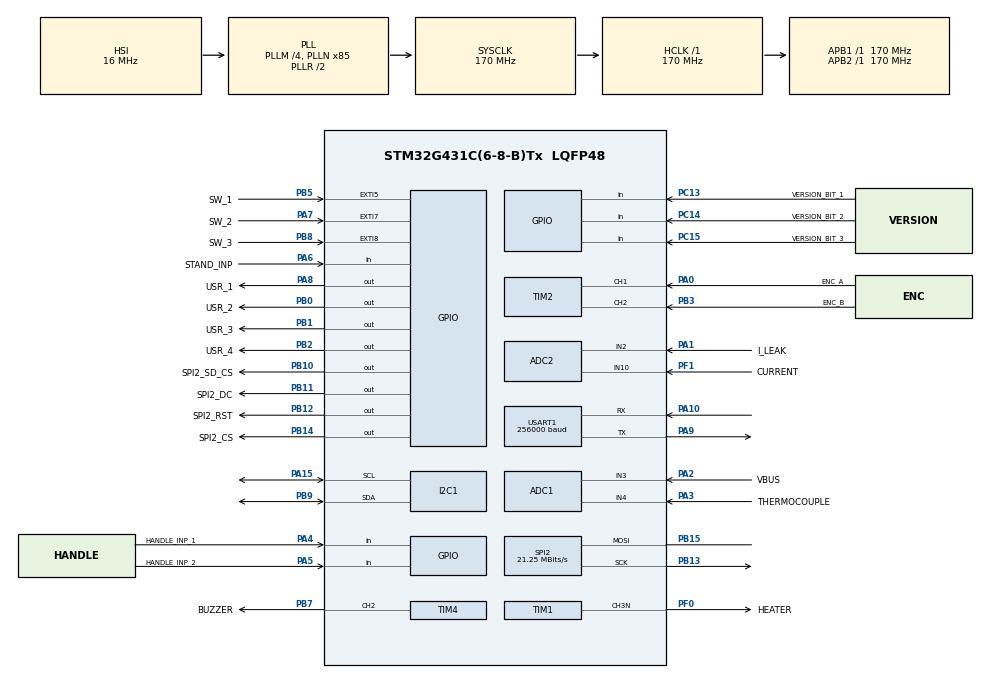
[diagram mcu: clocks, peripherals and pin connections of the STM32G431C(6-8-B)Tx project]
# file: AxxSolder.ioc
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ADC1.Channel-11\#ChannelRegularConversion=ADC_CHANNEL_3
ADC1.Channel-21\#ChannelRegularConversion=ADC_CHANNEL_4
ADC1.Channel-22\#ChannelRegularConversion=ADC_CHANNEL_TEMPSENSOR_ADC1
ADC1.ClockPrescaler=ADC_CLOCK_ASYNC_DIV4
ADC1.ContinuousConvMode=ENABLE
ADC1.DMAContinuousRequests=ENABLE
ADC1.DiscontinuousConvMode=DISABLE
ADC1.EnableAnalogWatchDog1=false
ADC1.EnableInjectedConversion=DISABLE
ADC1.EnableRegularConversion=ENABLE
ADC1.ExternalTrigConv=ADC_SOFTWARE_START
ADC1.ExternalTrigConvEdge=ADC_EXTERNALTRIGCONVEDGE_NONE
ADC1.NbrOfConversion=3
ADC1.NbrOfConversionFlag=1
ADC1.OffsetNumber-11\#ChannelRegularConversion=ADC_OFFSET_NONE
ADC1.OffsetNumber-21\#ChannelRegularConversion=ADC_OFFSET_NONE
ADC1.OffsetNumber-22\#ChannelRegularConversion=ADC_OFFSET_NONE
ADC1.Overrun=ADC_OVR_DATA_PRESERVED
ADC1.Rank-11\#ChannelRegularConversion=1
ADC1.Rank-21\#ChannelRegularConversion=2
ADC1.Rank-22\#ChannelRegularConversion=3
ADC1.SamplingTime-11\#ChannelRegularConversion=ADC_SAMPLETIME_247CYCLES_5
ADC1.SamplingTime-21\#ChannelRegularConversion=ADC_SAMPLETIME_247CYCLES_5
ADC1.SamplingTime-22\#ChannelRegularConversion=ADC_SAMPLETIME_247CYCLES_5
ADC1.master=1
ADC2.AWD1HighThreshold=2000
ADC2.AWD1ITMode=ENABLE
ADC2.Channel-4\#ChannelRegularConversion=ADC_CHANNEL_2
ADC2.Channel-5\#ChannelRegularConversion=ADC_CHANNEL_10
ADC2.ClockPrescaler=ADC_CLOCK_ASYNC_DIV4
ADC2.ContinuousConvMode=DISABLE
ADC2.DMAContinuousRequests=ENABLE
ADC2.EnableAnalogWatchDog1=true
ADC2.NbrOfConversion=2
ADC2.NbrOfConversionFlag=1
ADC2.OffsetNumber-4\#ChannelRegularConversion=ADC_OFFSET_NONE
ADC2.OffsetNumber-5\#ChannelRegularConversion=ADC_OFFSET_NONE
ADC2.Rank-4\#ChannelRegularConversion=1
ADC2.Rank-5\#ChannelRegularConversion=2
ADC2.SamplingTime-4\#ChannelRegularConversion=ADC_SAMPLETIME_2CYCLES_5
ADC2.SamplingTime-5\#ChannelRegularConversion=ADC_SAMPLETIME_2CYCLES_5
ADC2.WatchdogChannel=ADC_CHANNEL_2
Dma.ADC1.1.Direction=DMA_PERIPH_TO_MEMORY
Dma.ADC1.1.EventEnable=DISABLE
Dma.ADC1.1.Instance=DMA1_Channel3
Dma.ADC1.1.MemDataAlignment=DMA_MDATAALIGN_HALFWORD
Dma.ADC1.1.MemInc=DMA_MINC_ENABLE
Dma.ADC1.1.Mode=DMA_CIRCULAR
Dma.ADC1.1.PeriphDataAlignment=DMA_PDATAALIGN_HALFWORD
Dma.ADC1.1.PeriphInc=DMA_PINC_DISABLE
Dma.ADC1.1.Polarity=HAL_DMAMUX_REQ_GEN_RISING
Dma.ADC1.1.Priority=DMA_PRIORITY_LOW
Dma.ADC1.1.RequestNumber=1
Dma.ADC1.1.SignalID=NONE
Dma.ADC1.1.SyncEnable=DISABLE
Dma.ADC1.1.SyncPolarity=HAL_DMAMUX_SYNC_NO_EVENT
Dma.ADC1.1.SyncRequestNumber=1
Dma.ADC1.1.SyncSignalID=NONE
Dma.ADC2.3.Direction=DMA_PERIPH_TO_MEMORY
Dma.ADC2.3.EventEnable=DISABLE
Dma.ADC2.3.Instance=DMA1_Channel4
Dma.ADC2.3.MemDataAlignment=DMA_MDATAALIGN_HALFWORD
Dma.ADC2.3.MemInc=DMA_MINC_ENABLE
Dma.ADC2.3.Mode=DMA_NORMAL
Dma.ADC2.3.PeriphDataAlignment=DMA_PDATAALIGN_HALFWORD
Dma.ADC2.3.PeriphInc=DMA_PINC_DISABLE
Dma.ADC2.3.Polarity=HAL_DMAMUX_REQ_GEN_RISING
Dma.ADC2.3.Priority=DMA_PRIORITY_LOW
Dma.ADC2.3.RequestNumber=1
Dma.ADC2.3.SignalID=NONE
Dma.ADC2.3.SyncEnable=DISABLE
Dma.ADC2.3.SyncPolarity=HAL_DMAMUX_SYNC_NO_EVENT
Dma.ADC2.3.SyncRequestNumber=1
Dma.ADC2.3.SyncSignalID=NONE
Dma.Request0=SPI2_TX
Dma.Request1=ADC1
Dma.Request2=USART1_TX
Dma.Request3=ADC2
Dma.SPI2_TX.0.Direction=DMA_MEMORY_TO_PERIPH
Dma.SPI2_TX.0.EventEnable=DISABLE
Dma.SPI2_TX.0.Instance=DMA1_Channel1
Dma.SPI2_TX.0.MemDataAlignment=DMA_MDATAALIGN_BYTE
Dma.SPI2_TX.0.MemInc=DMA_MINC_ENABLE
Dma.SPI2_TX.0.Mode=DMA_NORMAL
Dma.SPI2_TX.0.PeriphDataAlignment=DMA_PDATAALIGN_BYTE
Dma.SPI2_TX.0.PeriphInc=DMA_PINC_DISABLE
Dma.SPI2_TX.0.Polarity=HAL_DMAMUX_REQ_GEN_RISING
Dma.SPI2_TX.0.Priority=DMA_PRIORITY_LOW
Dma.SPI2_TX.0.RequestNumber=1
Dma.SPI2_TX.0.SignalID=NONE
Dma.SPI2_TX.0.SyncEnable=DISABLE
Dma.SPI2_TX.0.SyncPolarity=HAL_DMAMUX_SYNC_NO_EVENT
Dma.SPI2_TX.0.SyncRequestNumber=1
Dma.SPI2_TX.0.SyncSignalID=NONE
Dma.USART1_TX.2.Direction=DMA_MEMORY_TO_PERIPH
Dma.USART1_TX.2.EventEnable=DISABLE
Dma.USART1_TX.2.Instance=DMA1_Channel2
Dma.USART1_TX.2.MemDataAlignment=DMA_MDATAALIGN_BYTE
Dma.USART1_TX.2.MemInc=DMA_MINC_ENABLE
Dma.USART1_TX.2.Mode=DMA_NORMAL
Dma.USART1_TX.2.PeriphDataAlignment=DMA_PDATAALIGN_BYTE
Dma.USART1_TX.2.PeriphInc=DMA_PINC_DISABLE
Dma.USART1_TX.2.Polarity=HAL_DMAMUX_REQ_GEN_RISING
Dma.USART1_TX.2.Priority=DMA_PRIORITY_LOW
Dma.USART1_TX.2.RequestNumber=1
Dma.USART1_TX.2.SignalID=NONE
Dma.USART1_TX.2.SyncEnable=DISABLE
Dma.USART1_TX.2.SyncPolarity=HAL_DMAMUX_SYNC_NO_EVENT
Dma.USART1_TX.2.SyncRequestNumber=1
Dma.USART1_TX.2.SyncSignalID=NONE
I2C1.Timing=0x1092646E
Mcu.Family=STM32G4
Mcu.Name=STM32G431C(6-8-B)Tx
Mcu.Package=LQFP48
NVIC.ADC1_2_IRQn=true\:10\:0\:true\:false\:true\:true\:true\:true
NVIC.DMA1_Channel1_IRQn=true\:0\:0\:true\:false\:true\:false\:true\:true
NVIC.DMA1_Channel2_IRQn=true\:0\:0\:false\:false\:true\:false\:true\:true
NVIC.DMA1_Channel3_IRQn=true\:0\:0\:false\:false\:true\:false\:true\:true
NVIC.DMA1_Channel4_IRQn=true\:0\:0\:false\:false\:true\:false\:true\:true
NVIC.EXTI9_5_IRQn=true\:0\:0\:false\:false\:true\:true\:true\:true
NVIC.PriorityGroup=NVIC_PRIORITYGROUP_4
NVIC.TIM1_BRK_TIM15_IRQn=true\:0\:0\:false\:false\:true\:true\:true\:true
NVIC.TIM1_CC_IRQn=true\:0\:0\:false\:false\:true\:true\:true\:true
NVIC.TIM1_TRG_COM_TIM17_IRQn=true\:0\:0\:false\:false\:true\:true\:true\:true
NVIC.TIM1_UP_TIM16_IRQn=true\:0\:0\:false\:false\:true\:true\:true\:true
NVIC.TIM6_DAC_IRQn=true\:0\:0\:false\:false\:true\:true\:true\:true
NVIC.TIM7_IRQn=true\:0\:0\:false\:false\:true\:true\:true\:true
NVIC.USART1_IRQn=true\:0\:0\:false\:false\:true\:true\:true\:true
PA0.GPIO_Label=ENC_A
PA0.Signal=S_TIM2_CH1
PA1.GPIO_Label=I_LEAK
PA1.Mode=IN2-Single-Ended
PA1.Signal=ADC2_IN2
PA10.Mode=Asynchronous
PA10.Signal=USART1_RX
PA13.Mode=Serial_Wire
PA13.Signal=SYS_JTMS-SWDIO
PA14.Mode=Serial_Wire
PA14.Signal=SYS_JTCK-SWCLK
PA15.Mode=I2C
PA15.Signal=I2C1_SCL
PA2.GPIO_Label=VBUS
PA2.Mode=IN3-Single-Ended
PA2.Signal=ADC1_IN3
PA3.GPIO_Label=THERMOCOUPLE
PA3.Mode=IN4-Single-Ended
PA3.Signal=ADC1_IN4
PA4.GPIO_Label=HANDLE_INP_1
PA4.Signal=GPIO_Input
PA5.GPIO_Label=HANDLE_INP_2
PA5.Signal=GPIO_Input
PA6.GPIO_Label=STAND_INP
PA6.Signal=GPIO_Input
PA7.GPIO_Label=SW_2
PA7.Signal=GPXTI7
PA8.GPIO_Label=USR_1
PA8.Signal=GPIO_Output
PA9.Mode=Asynchronous
PA9.Signal=USART1_TX
PB0.GPIO_Label=USR_2
PB0.Signal=GPIO_Output
PB1.GPIO_Label=USR_3
PB1.Signal=GPIO_Output
PB10.GPIO_Label=SPI2_SD_CS
PB10.Signal=GPIO_Output
PB11.GPIO_Label=SPI2_DC
PB11.Signal=GPIO_Output
PB12.GPIO_Label=SPI2_RST
PB12.Signal=GPIO_Output
PB13.Mode=Simplex_Bidirectional_Master
PB13.Signal=SPI2_SCK
PB14.GPIO_Label=SPI2_CS
PB14.Signal=GPIO_Output
PB15.Mode=Simplex_Bidirectional_Master
PB15.Signal=SPI2_MOSI
PB2.GPIO_Label=USR_4
PB2.Signal=GPIO_Output
PB3.GPIO_Label=ENC_B
PB3.Signal=S_TIM2_CH2
PB5.GPIO_Label=SW_1
PB5.Signal=GPXTI5
PB7.GPIO_Label=BUZZER
PB7.Signal=S_TIM4_CH2
PB8-BOOT0.GPIO_Label=SW_3
PB8-BOOT0.Signal=GPXTI8
PB9.Mode=I2C
PB9.Signal=I2C1_SDA
PC13.GPIO_Label=VERSION_BIT_1
PC13.Signal=GPIO_Input
PC14-OSC32_IN.GPIO_Label=VERSION_BIT_2
PC14-OSC32_IN.Signal=GPIO_Input
PC15-OSC32_OUT.GPIO_Label=VERSION_BIT_3
PC15-OSC32_OUT.Signal=GPIO_Input
PF0-OSC_IN.GPIO_Label=HEATER
PF0-OSC_IN.Mode=PWM Generation3 CH3N
PF0-OSC_IN.Signal=TIM1_CH3N
PF1-OSC_OUT.GPIO_Label=CURRENT
PF1-OSC_OUT.Mode=IN10-Single-Ended
PF1-OSC_OUT.Signal=ADC2_IN10
ProjectManager.HeapSize=0x200
ProjectManager.StackSize=0x400
ProjectManager.TargetToolchain=STM32CubeIDE
RCC.ADC12Freq_Value=170000000
RCC.AHBFreq_Value=170000000
RCC.APB1Freq_Value=170000000
RCC.APB1TimFreq_Value=170000000
RCC.APB2Freq_Value=170000000
RCC.APB2TimFreq_Value=170000000
RCC.CK48CLockSelection=RCC_USBCLKSOURCE_HSI48
RCC.CortexFreq_Value=170000000
RCC.EXTERNAL_CLOCK_VALUE=12288000
RCC.HCLKFreq_Value=170000000
RCC.HSE_VALUE=8000000
RCC.HSI48_VALUE=48000000
RCC.HSI_VALUE=16000000
RCC.LSE_VALUE=32768
RCC.PLLM=RCC_PLLM_DIV4
RCC.PLLN=85
RCC.SYSCLKFreq_VALUE=170000000
RCC.SYSCLKSource=RCC_SYSCLKSOURCE_PLLCLK
RCC.USBFreq_Value=48000000
RCC.VCOOutputFreq_Value=340000000
SH.S_TIM2_CH1.0=TIM2_CH1,Encoder_Interface
SH.S_TIM2_CH2.0=TIM2_CH2,Encoder_Interface
SH.S_TIM4_CH2.0=TIM4_CH2,PWM Generation2 CH2
SPI2.BaudRatePrescaler=SPI_BAUDRATEPRESCALER_8
SPI2.CLKPolarity=SPI_POLARITY_LOW
SPI2.CalculateBaudRate=21.25 MBits/s
SPI2.DataSize=SPI_DATASIZE_8BIT
SPI2.Direction=SPI_DIRECTION_1LINE
SPI2.Mode=SPI_MODE_MASTER
SPI2.VirtualType=VM_MASTER
TIM1.AutoReloadPreload=TIM_AUTORELOAD_PRELOAD_ENABLE
TIM1.Channel-PWM\ Generation1\ No\ Output=TIM_CHANNEL_1
TIM1.Channel-PWM\ Generation3\ CH3N=TIM_CHANNEL_3
TIM1.PeriodNoDither=500
TIM1.Prescaler=17-1
TIM1.TIM_MasterOutputTrigger=TIM_TRGO_RESET
TIM16.AutoReloadPreload=TIM_AUTORELOAD_PRELOAD_ENABLE
TIM16.PeriodNoDither=500-1
TIM16.Prescaler=17000-1
TIM17.AutoReloadPreload=TIM_AUTORELOAD_PRELOAD_ENABLE
TIM17.PeriodNoDither=50-1
TIM17.Prescaler=17000
TIM2.EncoderMode=TIM_ENCODERMODE_TI12
TIM2.IC1Polarity=TIM_ICPOLARITY_FALLING
TIM4.AutoReloadPreload=TIM_AUTORELOAD_PRELOAD_ENABLE
TIM4.Channel-PWM\ Generation2\ CH2=TIM_CHANNEL_2
TIM4.PeriodNoDither=100
TIM4.Prescaler=1700-1
TIM4.PulseNoDither_2=0
TIM6.AutoReloadPreload=TIM_AUTORELOAD_PRELOAD_ENABLE
TIM6.PeriodNoDither=250
TIM6.Prescaler=17000-1
TIM7.AutoReloadPreload=TIM_AUTORELOAD_PRELOAD_ENABLE
TIM7.PeriodNoDither=10-1
TIM7.Prescaler=8500-1
TIM7.TIM_MasterOutputTrigger=TIM_TRGO_UPDATE
USART1.BaudRate=256000
USART1.VirtualMode-Asynchronous=VM_ASYNC
VP_ADC1_TempSens_Input.Mode=IN-TempSens
VP_CRC_VS_CRC.Mode=CRC_Activate
VP_SYS_VS_DBSignals.Mode=DisableDeadBatterySignals
VP_TIM16_VS_ClockSourceINT.Mode=Enable_Timer
VP_TIM17_VS_ClockSourceINT.Mode=Enable_Timer
VP_TIM17_VS_OPM.Mode=OPM_bit
VP_TIM1_VS_no_output1.Mode=PWM Generation1 No Output
VP_TIM6_VS_ClockSourceINT.Mode=Enable_Timer
VP_TIM7_VS_ClockSourceINT.Mode=Enable_Timer
VP_TIM7_VS_OPM.Mode=OPM_bit
VP_TIM8_VS_OPM.Mode=OPM_bit
board=custom

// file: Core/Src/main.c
/* USER CODE BEGIN Header */
/**
  ******************************************************************************
  * @file           : main.c
  * @author  		: Axel Johansson, Stockholm, Sweden
  * @brief          : Main program body of AxxSolder
  ******************************************************************************
  * @attention
  *
  * Copyright (c) 2024 STMicroelectronics.
  * All rights reserved.
  *
  * This software is licensed under terms that can be found in the LICENSE file
  * in the root directory of this software component.
  * If no LICENSE file comes with this software, it is provided AS-IS.
  *
  ******************************************************************************
  */
/* USER CODE END Header */
#include "main.h"

/* USER CODE BEGIN Includes */
#include "lcd.h"
#include "gui.h"
#include "string.h"
#include "pid.h"
#include "moving_average.h"
#include "hysteresis.h"
#include "type_packers.h"
#include "storage.h"
#include "tip_profile.h"
#include "menu_profiles.h"
#include "buzzer.h"
#include "debug.h"
#include "menu_settings.h"
#include "sensors.h"
#include "heater.h"
#include "handle.h"
#include "encoder.h"
#include "buttons.h"
#include "stand.h"
#include "settings.h"
#include "telemetry.h"
#include "power_source.h"
#include "display_app.h"
#include "controller.h"
#include <math.h>
#include <stdio.h>
#include <float.h>
#include "graph.h"
#include "boot_mode.h"
#include "usb_mode.h"
//#include "usbd_cdc_if.h"
/* USER CODE END Includes */

/* USER CODE BEGIN PTD */
/* PID_TUNING build switch lives in controller.h (its #ifdef consumer is in controller.c) */

uint32_t previous_measure_current_update = 0;
uint32_t interval_measure_current = 250;

uint32_t previous_sensor_update_high_update = 0;
uint32_t interval_sensor_update_high_update = 10;

uint32_t previous_sensor_update_low_update = 0;
uint32_t interval_sensor_update_low_update = 100;

/* Flag to indicate that startup sequence is done */
uint8_t startup_done = 0;

/* Struct to hold sensor values */
struct sensor_values_struct {
	float set_temperature;
	float thermocouple_temperature;
	float thermocouple_temperature_previous;
	float thermocouple_temperature_filtered;
	float requested_power;
	float requested_power_filtered;
	float bus_voltage;
	float heater_current;
	uint16_t leak_current;
	float mcu_temperature;
	float in_stand;
	float handle1_sense;
	float handle2_sense;
	mainstates current_state;
	mainstates previous_state;
	float max_power_watt;
	float USB_PD_power_limit;
	float USB_PD_contract_power;
};

/* Struct to hold sensor values */
volatile sensor_values_struct sensor_values = {
    .set_temperature = 0.0f,
    .thermocouple_temperature = 0.0f,
    .thermocouple_temperature_previous = 0.0f,
    .thermocouple_temperature_filtered = 0.0f,
    .requested_power = 0.0f,
    .requested_power_filtered = 0.0f,
    .bus_voltage = 0.0f,
    .heater_current = 0.0f,
    .leak_current = 0,
    .mcu_temperature = 0.0f,
    .in_stand = 0.0f,
    .handle1_sense = 0.0f,
    .handle2_sense = 0.0f,
    .current_state = SLEEP,
    .previous_state = SLEEP,
    .max_power_watt = 0.0f,
    .USB_PD_power_limit = FLT_MAX,
    .USB_PD_contract_power = 0.0f
};
/* USER CODE END PTD */

ADC_HandleTypeDef hadc1;
ADC_HandleTypeDef hadc2;
DMA_HandleTypeDef hdma_adc1;
DMA_HandleTypeDef hdma_adc2;

CRC_HandleTypeDef hcrc;

I2C_HandleTypeDef hi2c1;

SPI_HandleTypeDef hspi2;
DMA_HandleTypeDef hdma_spi2_tx;

TIM_HandleTypeDef htim1;
TIM_HandleTypeDef htim2;
TIM_HandleTypeDef htim4;
TIM_HandleTypeDef htim6;
TIM_HandleTypeDef htim7;
TIM_HandleTypeDef htim8;
TIM_HandleTypeDef htim16;
TIM_HandleTypeDef htim17;

UART_HandleTypeDef huart1;
DMA_HandleTypeDef hdma_usart1_tx;

void SystemClock_Config(void);
static void MX_GPIO_Init(void);
static void MX_DMA_Init(void);
static void MX_ADC1_Init(void);
static void MX_ADC2_Init(void);
static void MX_CRC_Init(void);
static void MX_TIM1_Init(void);
static void MX_TIM2_Init(void);
static void MX_TIM4_Init(void);
static void MX_SPI2_Init(void);
static void MX_I2C1_Init(void);
static void MX_USART1_UART_Init(void);
static void MX_TIM7_Init(void);
static void MX_TIM8_Init(void);
static void MX_TIM6_Init(void);
static void MX_TIM16_Init(void);
static void MX_TIM17_Init(void);

/* USER CODE BEGIN 0 */

void HAL_GPIO_EXTI_Callback(uint16_t GPIO_Pin) {
    buttons_isr_exti(GPIO_Pin);
}

void HAL_TIM_IC_CaptureCallback(TIM_HandleTypeDef *htim) {
    if ((htim->Channel == HAL_TIM_ACTIVE_CHANNEL_1) || (htim->Channel == HAL_TIM_ACTIVE_CHANNEL_2)) {
        encoder_isr_capture();
    }
}

/* Timer Callbacks */
void HAL_TIM_PWM_PulseFinishedCallback(TIM_HandleTypeDef *htim){
    if (htim->Instance == TIM1 && htim->Channel == HAL_TIM_ACTIVE_CHANNEL_1) {
        heater_isr_pwm_ch1_pulse_finished();
    }
}

void HAL_TIM_PeriodElapsedCallback(TIM_HandleTypeDef *htim) {
    /* Dispatch by timer instance. */
    if      (htim == &htim6)  sensors_isr_thermocouple_window_start();
    else if (htim == &htim7)  sensors_start_adc_sample();
    else if (htim == &htim17) buzzer_isr_beep_done();
    else if (htim == &htim16) buttons_isr_debounce_tick();
}
/* ADC conversion completed Callbacks */
void HAL_ADC_ConvCpltCallback(ADC_HandleTypeDef *hadc) {
    if      (hadc->Instance == ADC1) sensors_isr_thermocouple_complete();
    else if (hadc->Instance == ADC2) heater_isr_current_complete();
}

/* ADC analog watchdog: ground-fault detection on the iron tip */
void HAL_ADC_LevelOutOfWindowCallback(ADC_HandleTypeDef *hadc __unused) {
    LCD_draw_earth_fault_popup();
}

// For DEBUG
//HAL_GPIO_WritePin(USR_1_GPIO_Port, USR_1_Pin, GPIO_PIN_SET);
//HAL_GPIO_WritePin(GPIOB, USR_2_Pin, GPIO_PIN_RESET);
//HAL_GPIO_WritePin(GPIOB, USR_3_Pin, GPIO_PIN_RESET);
//HAL_GPIO_WritePin(GPIOB, USR_4_Pin, GPIO_PIN_RESET);

/* USER CODE END 0 */

int main(void)
{

  /* MCU Configuration--------------------------------------------------------*/

  /* Reset of all peripherals, Initializes the Flash interface and the Systick. */
  HAL_Init();

  /* Configure the system clock */
  SystemClock_Config();

  /* Initialize all configured peripherals */
  MX_GPIO_Init();
  MX_DMA_Init();
  MX_ADC1_Init();
  MX_ADC2_Init();
  MX_CRC_Init();
  MX_TIM1_Init();
  MX_TIM2_Init();
  MX_TIM4_Init();
  MX_SPI2_Init();
  MX_I2C1_Init();
  MX_USART1_UART_Init();
  MX_TIM7_Init();
  MX_TIM8_Init();
  MX_TIM6_Init();
  MX_TIM16_Init();
  MX_TIM17_Init();
  /* USER CODE BEGIN 2 */

	/* SW_2 (preset 1) held while powering up selects USB-storage mode: the
	 * station shows a notice and publishes AXX.CFG as a removable disk. No
	 * heating, no PID - only removed together with the power. */
	if (boot_request_usb_storage()) {
		usb_storage_mode_run();
	}

	heater_set_duty(0);		//Set heater duty to zero to ensure zero startup current
	HAL_TIMEx_PWMN_Start_IT(&htim1, TIM_CHANNEL_3);

	HAL_TIM_Encoder_Start_IT(&htim2, TIM_CHANNEL_ALL);
	HAL_TIM_PWM_Start_IT(&htim1, TIM_CHANNEL_1);
	__HAL_TIM_SET_COMPARE(&htim4, TIM_CHANNEL_2, 50); //Set BUZZER duty to 50%
	HAL_TIM_Base_Start_IT(&htim6);

	__HAL_TIM_ENABLE_IT(&htim7, TIM_IT_UPDATE);

	HAL_ADCEx_Calibration_Start(&hadc2, ADC_SINGLE_ENDED);

	HAL_ADCEx_Calibration_Start(&hadc1, ADC_SINGLE_ENDED);
	HAL_ADC_Start_DMA(&hadc1, sensors_adc1_buf(), sensors_adc1_buf_len());	//Start ADC DMA mode

  /* USER CODE END 2 */

  /* Infinite loop */
  /* USER CODE BEGIN WHILE */
	/* Short settle time for the power rails and the free-running ADC (the DMA
	 * fills its buffer continuously); the long wait only delayed the screen. */
	HAL_Delay(50);

	/* Check if user data in flash is valid, if not - write default parameters */
	settings_init();

	/* With "PD auto max mode" the chooser is skipped; holding the encoder while
	 * powering up brings it back for this boot. Sampled right after the settings
	 * are known, while the button is still held. */
	bool chooser_override = boot_request_pd_chooser();
	if (chooser_override){
		buttons_clear_all();         /* the hold is a boot gesture, not a press */
	}

	/* Load tip profiles from storage */
	tip_profiles_init(STORAGE_PROFILES_DRIVER);

	/* Initiate display */
	LCD_init();

	LCD_SetRotation(flash_values.screen_rotation);
#ifdef STUSB_DEBUG
	debug_print_int(DEBUG_INFO,"boot ms (lcd)", (int)HAL_GetTick());
#endif

	/* Apply encoder direction setting */
	if(flash_values.change_enc_dir == 1){
		MX_TIM2_Init();
	}

	/* Set startup state */

	/* Set initial encoder timer value (used directly as temperature in
	   3-button mode) and seed the set temperature (normal rotary mode reads
	   the encoder as a relative delta, so it needs an explicit start value). */
	TIM2->CNT = flash_values.startup_temperature;
	sensor_values.set_temperature = flash_values.startup_temperature;

	/* initialize moving average functions */
	Moving_Average_Init(&thermocouple_temperature_filter_struct,(uint32_t)2);
	Moving_Average_Init(&thermocouple_temperature_filtered_filter_struct,(uint32_t)flash_values.displayed_temp_filter*10);
	Moving_Average_Init(&requested_power_filtered_filter_struct,(uint32_t)20);
	Moving_Average_Init(&mcu_temperature_filter_struct,(uint32_t)100);
	Moving_Average_Init(&input_voltage_filterStruct,(uint32_t)25);
	Moving_Average_Init(&current_filterStruct,(uint32_t)2);
	Moving_Average_Init(&stand_sense_filterStruct,(uint32_t)20);
	Moving_Average_Init(&handle1_sense_filterStruct,(uint32_t)20);
	Moving_Average_Init(&handle2_sense_filterStruct,(uint32_t)20);

	/* initialize hysteresis functions */
	Hysteresis_Init(&thermocouple_temperature_filtered_hysteresis, 0.5f);

	/* Init and fill filter structures with initial values */
	for (int i = 0; i<200;i++){
		sensors_get_bus_voltage(); // Function to retrieve the filtered bus voltage
		sensors_get_heater_current(); // Function to retrieve the filtered heater current
		sensors_get_mcu_temp(); // Function to retrieve the MCU temperature
		sensors_get_thermocouple_temperature(); // Get thermocouple temperature
		handle_detect(); // Get the handle type attached
		handle_apply_settings(); // Function to set heating values depending on the detected handle
		stand_update(); // Get handle stand status to activate SLEEP
		buttons_handle(); // Function to get button status
		handle_check_cartridge(); // Function to monitor cartridge presence
	}

	/* Initiate PID controller */
	controller_init();
#ifdef STUSB_DEBUG
	debug_print_int(DEBUG_INFO,"boot ms (filters)", (int)HAL_GetTick());
#endif

	/* check STUSB4500: probe only - the contract is negotiated after the
	 * chooser, see below, so the window does not wait for the PD exchange */
	power_source_init();
#ifdef STUSB_DEBUG
	debug_print_int(DEBUG_INFO,"boot ms (pd probe)", (int)HAL_GetTick());
#endif

	/* Boot-time USB-PD mode chooser: lists what the source advertises and lets
	 * the user pick one with the encoder (only a button press confirms). It is
	 * shown whenever a cable is attached to the controller - also when the
	 * source offers no modes or the link currently sits at 5 V, so the state is
	 * always visible. With "PD auto max mode" the window is skipped and the most
	 * powerful advertised mode is negotiated right away; holding the encoder
	 * while powering up overrides the setting for that boot. The mode picked
	 * here (or the stored/default one when the chooser is dismissed) is
	 * negotiated afterwards, so opening the window costs no PD exchange. */
	if (pd_cable_attached){
#ifdef STUSB_DEBUG
		debug_print_int(DEBUG_INFO,"boot ms (chooser)", (int)HAL_GetTick());
#endif
		/* Auto-max applies only when the boot gesture did not ask for the
		 * chooser; every apply below still verifies the result. */
		bool   auto_max = (flash_values.pd_auto_max > 0.5f) && !chooser_override;
		int8_t chosen   = -1;

		if (!auto_max){
			chosen = LCD_run_pd_banner();
			buttons_clear_all();           /* the tap only ends the chooser */
		}
		else {
			debug_print_str(DEBUG_INFO,"PD: auto max mode, chooser skipped");
		}

		/* A selection wins; otherwise the boot-time default is applied: the most
		 * powerful advertised mode with auto-max, the stored voltage (falling
		 * back to the most powerful one) without it. */
		bool   user_choice = (chosen >= 0);
		int8_t target      = user_choice ? chosen
		                   : auto_max     ? ((pd_offer_count > 0u) ? 0 : (int8_t)PD_OFFER_NONE)
		                   :                (int8_t)pd_offer_default;

		if (target >= 0){
			if (power_source_apply_offer((uint8_t)target)){
				if (user_choice){
					/* Remember the chosen voltage (0 .. 21 V); picking the most
					 * powerful entry keeps the selection automatic. */
					flash_values.pd_profile = (target == 0)
						? -1.0f
						: ((float)pd_offers[(uint8_t)target].mv / 1000.0f);
					settings_save();
				}

				/* The new contract changes the power the source can deliver, so
				 * the heater limit has to be recomputed - otherwise the station
				 * keeps running (and reporting) the limit of the previous mode. */
				handle_apply_settings();
			}
			else {
				/* The controller/source did not deliver the mode: say why instead
				 * of silently staying on the old contract. */
				show_popup((char *)power_source_switch_error());

				/* ... and keep running on the contract the controller negotiated
				 * on its own, so the power limit matches what is actually there. */
				power_source_adopt_contract();
			}
		}
		else {
			/* The source advertised nothing: keep the contract the controller
			 * negotiated on its own from its NVM. */
			power_source_adopt_contract();
		}
#ifdef STUSB_DEBUG
		debug_print_int(DEBUG_INFO,"boot ms (pd apply)", (int)HAL_GetTick());
#endif
	}

	/* Draw the station screen (portrait: JBC-style graph, landscape: legacy) */
	display_app_draw_screen();
	HAL_Delay(250);

	/* Set beep tone */
	switch((int)flash_values.beep_tone){
		case 0: {
			set_tone(1500, 10);
			break;
		}
		case 1: {
			set_tone(1500, 50);
			break;
		}
		case 2: {
			set_tone(800, 10);
			break;
		}
		case 3: {
			set_tone(800, 50);
			break;
		}
	}

    /* Start-up beep */
	beep_double(flash_values.startup_beep);

	//Flag to indicate that the startup sequence is done
	startup_done = 1;
	sensor_values.thermocouple_temperature_previous = sensor_values.thermocouple_temperature;

	/* "Heat at startup": preheat to the standby temperature on power-on.
	   Deferred until a tip is detected (see the one-shot in the main loop) -
	   doing it here would be immediately overridden by handle_check_cartridge,
	   which forces EMERGENCY_SLEEP until the first current measurement proves a
	   tip is present (heater_current starts at 0). */
	uint8_t heat_at_startup_pending = (flash_values.heat_at_startup == 1);

	/* Initiate the PID controller to zero*/
	//PID_Init_Zero();

	while (1){

		if(HAL_GetTick() - previous_sensor_update_high_update >= interval_sensor_update_high_update){
			stand_update();
			handle_detect();
			handle_apply_settings();
			encoder_read_set_temperature();
			buttons_handle();
			handle_emergency_shutdown();
			handle_check_cartridge();
			/* One-shot preheat: once a tip is confirmed present, enter STANDBY
			   if "heat at startup" is enabled. Deferred to here so the cartridge
			   check above (which forces EMERGENCY_SLEEP while heater_current < 1)
			   doesn't immediately clobber it. */
			if(heat_at_startup_pending && (cartridge_state == ATTACHED)){
				change_state(STANDBY);
				previous_millis_standby = HAL_GetTick();
				heat_at_startup_pending = 0;
			}
			previous_sensor_update_high_update = HAL_GetTick();
		}

		if(HAL_GetTick() - previous_sensor_update_low_update >= interval_sensor_update_low_update){
			sensors_get_bus_voltage();
			sensors_get_heater_current();
			sensors_get_mcu_temp();
			beep_at_set_temp();
			previous_sensor_update_low_update = HAL_GetTick();
		}

		/* Compute PID + switch + PID Tuning manual control */
		controller_tick();

		/* Send debug information */
		telemetry_tick();

		/* Detect if a tip is present by sending a short voltage pulse and sense current */
		if (flash_values.current_measurement == 1){

			if (HAL_GetTick() - previous_measure_current_update >= interval_measure_current) {
				// Perform current measurement only if thermocouple measurement is not in progress.
				if (sensors_thermocouple_sampling_idle()) {
					heater_start_current_measurement();
					previous_measure_current_update = HAL_GetTick();
				}
			}
		}
		else{
			sensor_values.heater_current = 1; // If the current is not measured, apply a dummy value to heater_current
		}

		/* Update display (popup dwell + periodic render inside display_app_tick) */
		display_app_tick();
    /* USER CODE END WHILE */

  }
}

void SystemClock_Config(void)
{
  RCC_OscInitTypeDef RCC_OscInitStruct = {0};
  RCC_ClkInitTypeDef RCC_ClkInitStruct = {0};

  /** Configure the main internal regulator output voltage
  */
  HAL_PWREx_ControlVoltageScaling(PWR_REGULATOR_VOLTAGE_SCALE1_BOOST);

  /** Initializes the RCC Oscillators according to the specified parameters
  * in the RCC_OscInitTypeDef structure.
  */
  RCC_OscInitStruct.OscillatorType = RCC_OSCILLATORTYPE_HSI;
  RCC_OscInitStruct.HSIState = RCC_HSI_ON;
  RCC_OscInitStruct.HSICalibrationValue = RCC_HSICALIBRATION_DEFAULT;
  RCC_OscInitStruct.PLL.PLLState = RCC_PLL_ON;
  RCC_OscInitStruct.PLL.PLLSource = RCC_PLLSOURCE_HSI;
  RCC_OscInitStruct.PLL.PLLM = RCC_PLLM_DIV4;
  RCC_OscInitStruct.PLL.PLLN = 85;
  RCC_OscInitStruct.PLL.PLLP = RCC_PLLP_DIV2;
  RCC_OscInitStruct.PLL.PLLQ = RCC_PLLQ_DIV2;
  RCC_OscInitStruct.PLL.PLLR = RCC_PLLR_DIV2;
  if (HAL_RCC_OscConfig(&RCC_OscInitStruct) != HAL_OK)
  {
    Error_Handler();
  }

  /** Initializes the CPU, AHB and APB buses clocks
  */
  RCC_ClkInitStruct.ClockType = RCC_CLOCKTYPE_HCLK|RCC_CLOCKTYPE_SYSCLK
                              |RCC_CLOCKTYPE_PCLK1|RCC_CLOCKTYPE_PCLK2;
  RCC_ClkInitStruct.SYSCLKSource = RCC_SYSCLKSOURCE_PLLCLK;
  RCC_ClkInitStruct.AHBCLKDivider = RCC_SYSCLK_DIV1;
  RCC_ClkInitStruct.APB1CLKDivider = RCC_HCLK_DIV1;
  RCC_ClkInitStruct.APB2CLKDivider = RCC_HCLK_DIV1;

  if (HAL_RCC_ClockConfig(&RCC_ClkInitStruct, FLASH_LATENCY_4) != HAL_OK)
  {
    Error_Handler();
  }
}

static void MX_ADC1_Init(void)
{

  ADC_MultiModeTypeDef multimode = {0};
  ADC_ChannelConfTypeDef sConfig = {0};

  /** Common config
  */
  hadc1.Instance = ADC1;
  hadc1.Init.ClockPrescaler = ADC_CLOCK_ASYNC_DIV4;
  hadc1.Init.Resolution = ADC_RESOLUTION_12B;
  hadc1.Init.DataAlign = ADC_DATAALIGN_RIGHT;
  hadc1.Init.GainCompensation = 0;
  hadc1.Init.ScanConvMode = ADC_SCAN_ENABLE;
  hadc1.Init.EOCSelection = ADC_EOC_SINGLE_CONV;
  hadc1.Init.LowPowerAutoWait = DISABLE;
  hadc1.Init.ContinuousConvMode = ENABLE;
  hadc1.Init.NbrOfConversion = 3;
  hadc1.Init.DiscontinuousConvMode = DISABLE;
  hadc1.Init.ExternalTrigConv = ADC_SOFTWARE_START;
  hadc1.Init.ExternalTrigConvEdge = ADC_EXTERNALTRIGCONVEDGE_NONE;
  hadc1.Init.DMAContinuousRequests = ENABLE;
  hadc1.Init.Overrun = ADC_OVR_DATA_PRESERVED;
  hadc1.Init.OversamplingMode = DISABLE;
  if (HAL_ADC_Init(&hadc1) != HAL_OK)
  {
    Error_Handler();
  }

  /** Configure the ADC multi-mode
  */
  multimode.Mode = ADC_MODE_INDEPENDENT;
  if (HAL_ADCEx_MultiModeConfigChannel(&hadc1, &multimode) != HAL_OK)
  {
    Error_Handler();
  }

  /** Configure Regular Channel
  */
  sConfig.Channel = ADC_CHANNEL_3;
  sConfig.Rank = ADC_REGULAR_RANK_1;
  sConfig.SamplingTime = ADC_SAMPLETIME_247CYCLES_5;
  sConfig.SingleDiff = ADC_SINGLE_ENDED;
  sConfig.OffsetNumber = ADC_OFFSET_NONE;
  sConfig.Offset = 0;
  if (HAL_ADC_ConfigChannel(&hadc1, &sConfig) != HAL_OK)
  {
    Error_Handler();
  }

  /** Configure Regular Channel
  */
  sConfig.Channel = ADC_CHANNEL_4;
  sConfig.Rank = ADC_REGULAR_RANK_2;
  if (HAL_ADC_ConfigChannel(&hadc1, &sConfig) != HAL_OK)
  {
    Error_Handler();
  }

  /** Configure Regular Channel
  */
  sConfig.Channel = ADC_CHANNEL_TEMPSENSOR_ADC1;
  sConfig.Rank = ADC_REGULAR_RANK_3;
  if (HAL_ADC_ConfigChannel(&hadc1, &sConfig) != HAL_OK)
  {
    Error_Handler();
  }

}

static void MX_ADC2_Init(void)
{

  ADC_AnalogWDGConfTypeDef AnalogWDGConfig = {0};
  ADC_ChannelConfTypeDef sConfig = {0};

  /** Common config
  */
  hadc2.Instance = ADC2;
  hadc2.Init.ClockPrescaler = ADC_CLOCK_ASYNC_DIV4;
  hadc2.Init.Resolution = ADC_RESOLUTION_12B;
  hadc2.Init.DataAlign = ADC_DATAALIGN_RIGHT;
  hadc2.Init.GainCompensation = 0;
  hadc2.Init.ScanConvMode = ADC_SCAN_ENABLE;
  hadc2.Init.EOCSelection = ADC_EOC_SINGLE_CONV;
  hadc2.Init.LowPowerAutoWait = DISABLE;
  hadc2.Init.ContinuousConvMode = DISABLE;
  hadc2.Init.NbrOfConversion = 2;
  hadc2.Init.DiscontinuousConvMode = DISABLE;
  hadc2.Init.ExternalTrigConv = ADC_SOFTWARE_START;
  hadc2.Init.ExternalTrigConvEdge = ADC_EXTERNALTRIGCONVEDGE_NONE;
  hadc2.Init.DMAContinuousRequests = ENABLE;
  hadc2.Init.Overrun = ADC_OVR_DATA_PRESERVED;
  hadc2.Init.OversamplingMode = DISABLE;
  if (HAL_ADC_Init(&hadc2) != HAL_OK)
  {
    Error_Handler();
  }

  /** Configure Analog WatchDog 1
  */
  AnalogWDGConfig.WatchdogNumber = ADC_ANALOGWATCHDOG_1;
  AnalogWDGConfig.WatchdogMode = ADC_ANALOGWATCHDOG_SINGLE_REG;
  AnalogWDGConfig.Channel = ADC_CHANNEL_2;
  AnalogWDGConfig.ITMode = ENABLE;
  AnalogWDGConfig.HighThreshold = 2000;
  AnalogWDGConfig.LowThreshold = 0;
  AnalogWDGConfig.FilteringConfig = ADC_AWD_FILTERING_NONE;
  if (HAL_ADC_AnalogWDGConfig(&hadc2, &AnalogWDGConfig) != HAL_OK)
  {
    Error_Handler();
  }

  /** Configure Regular Channel
  */
  sConfig.Channel = ADC_CHANNEL_2;
  sConfig.Rank = ADC_REGULAR_RANK_1;
  sConfig.SamplingTime = ADC_SAMPLETIME_2CYCLES_5;
  sConfig.SingleDiff = ADC_SINGLE_ENDED;
  sConfig.OffsetNumber = ADC_OFFSET_NONE;
  sConfig.Offset = 0;
  if (HAL_ADC_ConfigChannel(&hadc2, &sConfig) != HAL_OK)
  {
    Error_Handler();
  }

  /** Configure Regular Channel
  */
  sConfig.Channel = ADC_CHANNEL_10;
  sConfig.Rank = ADC_REGULAR_RANK_2;
  if (HAL_ADC_ConfigChannel(&hadc2, &sConfig) != HAL_OK)
  {
    Error_Handler();
  }

}

static void MX_CRC_Init(void)
{

  hcrc.Instance = CRC;
  hcrc.Init.DefaultPolynomialUse = DEFAULT_POLYNOMIAL_ENABLE;
  hcrc.Init.DefaultInitValueUse = DEFAULT_INIT_VALUE_ENABLE;
  hcrc.Init.InputDataInversionMode = CRC_INPUTDATA_INVERSION_NONE;
  hcrc.Init.OutputDataInversionMode = CRC_OUTPUTDATA_INVERSION_DISABLE;
  hcrc.InputDataFormat = CRC_INPUTDATA_FORMAT_BYTES;
  if (HAL_CRC_Init(&hcrc) != HAL_OK)
  {
    Error_Handler();
  }

}

static void MX_I2C1_Init(void)
{

  hi2c1.Instance = I2C1;
  /* 400 kHz fast mode for the STUSB4500 (I2C clock = 170 MHz, PRESC = /2):
   * SCL low ~1.31 us, SCL high ~1.19 us, data setup ~118 ns. */
  hi2c1.Init.Timing = 0x1092646E;
  hi2c1.Init.OwnAddress1 = 0;
  hi2c1.Init.AddressingMode = I2C_ADDRESSINGMODE_7BIT;
  hi2c1.Init.DualAddressMode = I2C_DUALADDRESS_DISABLE;
  hi2c1.Init.OwnAddress2 = 0;
  hi2c1.Init.OwnAddress2Masks = I2C_OA2_NOMASK;
  hi2c1.Init.GeneralCallMode = I2C_GENERALCALL_DISABLE;
  hi2c1.Init.NoStretchMode = I2C_NOSTRETCH_DISABLE;
  if (HAL_I2C_Init(&hi2c1) != HAL_OK)
  {
    Error_Handler();
  }

  /** Configure Analogue filter
  */
  if (HAL_I2CEx_ConfigAnalogFilter(&hi2c1, I2C_ANALOGFILTER_ENABLE) != HAL_OK)
  {
    Error_Handler();
  }

  /** Configure Digital filter
  */
  if (HAL_I2CEx_ConfigDigitalFilter(&hi2c1, 0) != HAL_OK)
  {
    Error_Handler();
  }

}

static void MX_SPI2_Init(void)
{

  /* SPI2 parameter configuration*/
  hspi2.Instance = SPI2;
  hspi2.Init.Mode = SPI_MODE_MASTER;
  hspi2.Init.Direction = SPI_DIRECTION_1LINE;
  hspi2.Init.DataSize = SPI_DATASIZE_8BIT;
  hspi2.Init.CLKPolarity = SPI_POLARITY_LOW;
  hspi2.Init.CLKPhase = SPI_PHASE_1EDGE;
  hspi2.Init.NSS = SPI_NSS_SOFT;
  hspi2.Init.BaudRatePrescaler = SPI_BAUDRATEPRESCALER_8;
  hspi2.Init.FirstBit = SPI_FIRSTBIT_MSB;
  hspi2.Init.TIMode = SPI_TIMODE_DISABLE;
  hspi2.Init.CRCCalculation = SPI_CRCCALCULATION_DISABLE;
  hspi2.Init.CRCPolynomial = 7;
  hspi2.Init.CRCLength = SPI_CRC_LENGTH_DATASIZE;
  hspi2.Init.NSSPMode = SPI_NSS_PULSE_ENABLE;
  if (HAL_SPI_Init(&hspi2) != HAL_OK)
  {
    Error_Handler();
  }

}

static void MX_TIM1_Init(void)
{

  TIM_MasterConfigTypeDef sMasterConfig = {0};
  TIM_OC_InitTypeDef sConfigOC = {0};
  TIM_BreakDeadTimeConfigTypeDef sBreakDeadTimeConfig = {0};

  htim1.Instance = TIM1;
  htim1.Init.Prescaler = 17-1;
  htim1.Init.CounterMode = TIM_COUNTERMODE_UP;
  htim1.Init.Period = 500;
  htim1.Init.ClockDivision = TIM_CLOCKDIVISION_DIV1;
  htim1.Init.RepetitionCounter = 0;
  htim1.Init.AutoReloadPreload = TIM_AUTORELOAD_PRELOAD_ENABLE;
  if (HAL_TIM_PWM_Init(&htim1) != HAL_OK)
  {
    Error_Handler();
  }
  sMasterConfig.MasterOutputTrigger = TIM_TRGO_RESET;
  sMasterConfig.MasterOutputTrigger2 = TIM_TRGO2_RESET;
  sMasterConfig.MasterSlaveMode = TIM_MASTERSLAVEMODE_DISABLE;
  if (HAL_TIMEx_MasterConfigSynchronization(&htim1, &sMasterConfig) != HAL_OK)
  {
    Error_Handler();
  }
  sConfigOC.OCMode = TIM_OCMODE_PWM1;
  sConfigOC.Pulse = 0;
  sConfigOC.OCPolarity = TIM_OCPOLARITY_HIGH;
  sConfigOC.OCNPolarity = TIM_OCNPOLARITY_HIGH;
  sConfigOC.OCFastMode = TIM_OCFAST_DISABLE;
  sConfigOC.OCIdleState = TIM_OCIDLESTATE_RESET;
  sConfigOC.OCNIdleState = TIM_OCNIDLESTATE_RESET;
  if (HAL_TIM_PWM_ConfigChannel(&htim1, &sConfigOC, TIM_CHANNEL_1) != HAL_OK)
  {
    Error_Handler();
  }
  if (HAL_TIM_PWM_ConfigChannel(&htim1, &sConfigOC, TIM_CHANNEL_3) != HAL_OK)
  {
    Error_Handler();
  }
  sBreakDeadTimeConfig.OffStateRunMode = TIM_OSSR_DISABLE;
  sBreakDeadTimeConfig.OffStateIDLEMode = TIM_OSSI_DISABLE;
  sBreakDeadTimeConfig.LockLevel = TIM_LOCKLEVEL_OFF;
  sBreakDeadTimeConfig.DeadTime = 0;
  sBreakDeadTimeConfig.BreakState = TIM_BREAK_DISABLE;
  sBreakDeadTimeConfig.BreakPolarity = TIM_BREAKPOLARITY_HIGH;
  sBreakDeadTimeConfig.BreakFilter = 0;
  sBreakDeadTimeConfig.BreakAFMode = TIM_BREAK_AFMODE_INPUT;
  sBreakDeadTimeConfig.Break2State = TIM_BREAK2_DISABLE;
  sBreakDeadTimeConfig.Break2Polarity = TIM_BREAK2POLARITY_HIGH;
  sBreakDeadTimeConfig.Break2Filter = 0;
  sBreakDeadTimeConfig.Break2AFMode = TIM_BREAK_AFMODE_INPUT;
  sBreakDeadTimeConfig.AutomaticOutput = TIM_AUTOMATICOUTPUT_DISABLE;
  if (HAL_TIMEx_ConfigBreakDeadTime(&htim1, &sBreakDeadTimeConfig) != HAL_OK)
  {
    Error_Handler();
  }
  HAL_TIM_MspPostInit(&htim1);

}

static void MX_TIM2_Init(void)
{

  TIM_Encoder_InitTypeDef sConfig = {0};
  TIM_MasterConfigTypeDef sMasterConfig = {0};

  htim2.Instance = TIM2;
  htim2.Init.Prescaler = 0;
  htim2.Init.CounterMode = TIM_COUNTERMODE_UP;
  htim2.Init.Period = 4294967295;
  htim2.Init.ClockDivision = TIM_CLOCKDIVISION_DIV1;
  htim2.Init.AutoReloadPreload = TIM_AUTORELOAD_PRELOAD_DISABLE;
  sConfig.EncoderMode = TIM_ENCODERMODE_TI12;
  sConfig.IC1Polarity = TIM_ICPOLARITY_FALLING;
  sConfig.IC1Selection = TIM_ICSELECTION_DIRECTTI;
  sConfig.IC1Prescaler = TIM_ICPSC_DIV1;
  sConfig.IC1Filter = 0;
  sConfig.IC2Polarity = TIM_ICPOLARITY_RISING;
  sConfig.IC2Selection = TIM_ICSELECTION_DIRECTTI;
  sConfig.IC2Prescaler = TIM_ICPSC_DIV1;
  sConfig.IC2Filter = 0;
  if (HAL_TIM_Encoder_Init(&htim2, &sConfig) != HAL_OK)
  {
    Error_Handler();
  }
  sMasterConfig.MasterOutputTrigger = TIM_TRGO_RESET;
  sMasterConfig.MasterSlaveMode = TIM_MASTERSLAVEMODE_DISABLE;
  if (HAL_TIMEx_MasterConfigSynchronization(&htim2, &sMasterConfig) != HAL_OK)
  {
    Error_Handler();
  }
  /* USER CODE BEGIN TIM2_Init 2 */
  if(flash_values.change_enc_dir == 1){
	  sConfig.IC1Polarity = TIM_ICPOLARITY_RISING;
	  HAL_TIM_Encoder_Init(&htim2, &sConfig);
  }
  /* USER CODE END TIM2_Init 2 */

}

static void MX_TIM4_Init(void)
{

  TIM_MasterConfigTypeDef sMasterConfig = {0};
  TIM_OC_InitTypeDef sConfigOC = {0};

  htim4.Instance = TIM4;
  htim4.Init.Prescaler = 1700-1;
  htim4.Init.CounterMode = TIM_COUNTERMODE_UP;
  htim4.Init.Period = 100;
  htim4.Init.ClockDivision = TIM_CLOCKDIVISION_DIV1;
  htim4.Init.AutoReloadPreload = TIM_AUTORELOAD_PRELOAD_ENABLE;
  if (HAL_TIM_PWM_Init(&htim4) != HAL_OK)
  {
    Error_Handler();
  }
  sMasterConfig.MasterOutputTrigger = TIM_TRGO_RESET;
  sMasterConfig.MasterSlaveMode = TIM_MASTERSLAVEMODE_DISABLE;
  if (HAL_TIMEx_MasterConfigSynchronization(&htim4, &sMasterConfig) != HAL_OK)
  {
    Error_Handler();
  }
  sConfigOC.OCMode = TIM_OCMODE_PWM1;
  sConfigOC.Pulse = 0;
  sConfigOC.OCPolarity = TIM_OCPOLARITY_HIGH;
  sConfigOC.OCFastMode = TIM_OCFAST_DISABLE;
  if (HAL_TIM_PWM_ConfigChannel(&htim4, &sConfigOC, TIM_CHANNEL_2) != HAL_OK)
  {
    Error_Handler();
  }
  HAL_TIM_MspPostInit(&htim4);

}

static void MX_TIM6_Init(void)
{

  TIM_MasterConfigTypeDef sMasterConfig = {0};

  htim6.Instance = TIM6;
  htim6.Init.Prescaler = 17000-1;
  htim6.Init.CounterMode = TIM_COUNTERMODE_UP;
  htim6.Init.Period = 250;
  htim6.Init.AutoReloadPreload = TIM_AUTORELOAD_PRELOAD_ENABLE;
  if (HAL_TIM_Base_Init(&htim6) != HAL_OK)
  {
    Error_Handler();
  }
  sMasterConfig.MasterOutputTrigger = TIM_TRGO_RESET;
  sMasterConfig.MasterSlaveMode = TIM_MASTERSLAVEMODE_DISABLE;
  if (HAL_TIMEx_MasterConfigSynchronization(&htim6, &sMasterConfig) != HAL_OK)
  {
    Error_Handler();
  }

}

static void MX_TIM7_Init(void)
{

  TIM_MasterConfigTypeDef sMasterConfig = {0};

  htim7.Instance = TIM7;
  htim7.Init.Prescaler = 8500-1;
  htim7.Init.CounterMode = TIM_COUNTERMODE_UP;
  htim7.Init.Period = 9;
  htim7.Init.AutoReloadPreload = TIM_AUTORELOAD_PRELOAD_ENABLE;
  if (HAL_TIM_Base_Init(&htim7) != HAL_OK)
  {
    Error_Handler();
  }
  if (HAL_TIM_OnePulse_Init(&htim7, TIM_OPMODE_SINGLE) != HAL_OK)
  {
    Error_Handler();
  }
  sMasterConfig.MasterOutputTrigger = TIM_TRGO_UPDATE;
  sMasterConfig.MasterSlaveMode = TIM_MASTERSLAVEMODE_DISABLE;
  if (HAL_TIMEx_MasterConfigSynchronization(&htim7, &sMasterConfig) != HAL_OK)
  {
    Error_Handler();
  }

}

static void MX_TIM8_Init(void)
{

  TIM_MasterConfigTypeDef sMasterConfig = {0};

  htim8.Instance = TIM8;
  htim8.Init.Prescaler = 0;
  htim8.Init.CounterMode = TIM_COUNTERMODE_UP;
  htim8.Init.Period = 65535;
  htim8.Init.ClockDivision = TIM_CLOCKDIVISION_DIV1;
  htim8.Init.RepetitionCounter = 0;
  htim8.Init.AutoReloadPreload = TIM_AUTORELOAD_PRELOAD_DISABLE;
  if (HAL_TIM_OnePulse_Init(&htim8, TIM_OPMODE_SINGLE) != HAL_OK)
  {
    Error_Handler();
  }
  sMasterConfig.MasterOutputTrigger = TIM_TRGO_RESET;
  sMasterConfig.MasterOutputTrigger2 = TIM_TRGO2_RESET;
  sMasterConfig.MasterSlaveMode = TIM_MASTERSLAVEMODE_DISABLE;
  if (HAL_TIMEx_MasterConfigSynchronization(&htim8, &sMasterConfig) != HAL_OK)
  {
    Error_Handler();
  }

}

static void MX_TIM16_Init(void)
{

  htim16.Instance = TIM16;
  htim16.Init.Prescaler = 17000-1;
  htim16.Init.CounterMode = TIM_COUNTERMODE_UP;
  htim16.Init.Period = 499;
  htim16.Init.ClockDivision = TIM_CLOCKDIVISION_DIV1;
  htim16.Init.RepetitionCounter = 0;
  htim16.Init.AutoReloadPreload = TIM_AUTORELOAD_PRELOAD_ENABLE;
  if (HAL_TIM_Base_Init(&htim16) != HAL_OK)
  {
    Error_Handler();
  }

}

static void MX_TIM17_Init(void)
{

  htim17.Instance = TIM17;
  htim17.Init.Prescaler = 17000;
  htim17.Init.CounterMode = TIM_COUNTERMODE_UP;
  htim17.Init.Period = 49;
  htim17.Init.ClockDivision = TIM_CLOCKDIVISION_DIV1;
  htim17.Init.RepetitionCounter = 0;
  htim17.Init.AutoReloadPreload = TIM_AUTORELOAD_PRELOAD_ENABLE;
  if (HAL_TIM_Base_Init(&htim17) != HAL_OK)
  {
    Error_Handler();
  }
  if (HAL_TIM_OnePulse_Init(&htim17, TIM_OPMODE_SINGLE) != HAL_OK)
  {
    Error_Handler();
  }

}

static void MX_USART1_UART_Init(void)
{

  huart1.Instance = USART1;
  huart1.Init.BaudRate = 256000;
  huart1.Init.WordLength = UART_WORDLENGTH_8B;
  huart1.Init.StopBits = UART_STOPBITS_1;
  huart1.Init.Parity = UART_PARITY_NONE;
  huart1.Init.Mode = UART_MODE_TX_RX;
  huart1.Init.HwFlowCtl = UART_HWCONTROL_NONE;
  huart1.Init.OverSampling = UART_OVERSAMPLING_16;
  huart1.Init.OneBitSampling = UART_ONE_BIT_SAMPLE_DISABLE;
  huart1.Init.ClockPrescaler = UART_PRESCALER_DIV1;
  huart1.AdvancedInit.AdvFeatureInit = UART_ADVFEATURE_NO_INIT;
  if (HAL_UART_Init(&huart1) != HAL_OK)
  {
    Error_Handler();
  }
  if (HAL_UARTEx_SetTxFifoThreshold(&huart1, UART_TXFIFO_THRESHOLD_1_8) != HAL_OK)
  {
    Error_Handler();
  }
  if (HAL_UARTEx_SetRxFifoThreshold(&huart1, UART_RXFIFO_THRESHOLD_1_8) != HAL_OK)
  {
    Error_Handler();
  }
  if (HAL_UARTEx_DisableFifoMode(&huart1) != HAL_OK)
  {
    Error_Handler();
  }

}

static void MX_DMA_Init(void)
{

  /* DMA controller clock enable */
  __HAL_RCC_DMAMUX1_CLK_ENABLE();
  __HAL_RCC_DMA1_CLK_ENABLE();

  /* DMA interrupt init */
  /* DMA1_Channel1_IRQn interrupt configuration */
  HAL_NVIC_SetPriority(DMA1_Channel1_IRQn, 0, 0);
  HAL_NVIC_EnableIRQ(DMA1_Channel1_IRQn);
  /* DMA1_Channel2_IRQn interrupt configuration */
  HAL_NVIC_SetPriority(DMA1_Channel2_IRQn, 0, 0);
  HAL_NVIC_EnableIRQ(DMA1_Channel2_IRQn);
  /* DMA1_Channel3_IRQn interrupt configuration */
  HAL_NVIC_SetPriority(DMA1_Channel3_IRQn, 0, 0);
  HAL_NVIC_EnableIRQ(DMA1_Channel3_IRQn);
  /* DMA1_Channel4_IRQn interrupt configuration */
  HAL_NVIC_SetPriority(DMA1_Channel4_IRQn, 0, 0);
  HAL_NVIC_EnableIRQ(DMA1_Channel4_IRQn);

}

static void MX_GPIO_Init(void)
{
  GPIO_InitTypeDef GPIO_InitStruct = {0};

  /* GPIO Ports Clock Enable */
  __HAL_RCC_GPIOC_CLK_ENABLE();
  __HAL_RCC_GPIOF_CLK_ENABLE();
  __HAL_RCC_GPIOA_CLK_ENABLE();
  __HAL_RCC_GPIOB_CLK_ENABLE();

  /*Configure GPIO pin Output Level */
  HAL_GPIO_WritePin(GPIOB, USR_2_Pin|USR_3_Pin|USR_4_Pin|SPI2_SD_CS_Pin
                          |SPI2_DC_Pin|SPI2_RST_Pin|SPI2_CS_Pin, GPIO_PIN_RESET);

  /*Configure GPIO pin Output Level */
  HAL_GPIO_WritePin(USR_1_GPIO_Port, USR_1_Pin, GPIO_PIN_RESET);

  /*Configure GPIO pins : VERSION_BIT_1_Pin VERSION_BIT_2_Pin VERSION_BIT_3_Pin */
  GPIO_InitStruct.Pin = VERSION_BIT_1_Pin|VERSION_BIT_2_Pin|VERSION_BIT_3_Pin;
  GPIO_InitStruct.Mode = GPIO_MODE_INPUT;
  GPIO_InitStruct.Pull = GPIO_NOPULL;
  HAL_GPIO_Init(GPIOC, &GPIO_InitStruct);

  /*Configure GPIO pins : HANDLE_INP_1_Pin HANDLE_INP_2_Pin STAND_INP_Pin */
  GPIO_InitStruct.Pin = HANDLE_INP_1_Pin|HANDLE_INP_2_Pin|STAND_INP_Pin;
  GPIO_InitStruct.Mode = GPIO_MODE_INPUT;
  GPIO_InitStruct.Pull = GPIO_NOPULL;
  HAL_GPIO_Init(GPIOA, &GPIO_InitStruct);

  /*Configure GPIO pin : SW_2_Pin */
  GPIO_InitStruct.Pin = SW_2_Pin;
  GPIO_InitStruct.Mode = GPIO_MODE_IT_RISING;
  GPIO_InitStruct.Pull = GPIO_NOPULL;
  HAL_GPIO_Init(SW_2_GPIO_Port, &GPIO_InitStruct);

  /*Configure GPIO pins : USR_2_Pin USR_3_Pin USR_4_Pin SPI2_SD_CS_Pin
                           SPI2_DC_Pin SPI2_RST_Pin SPI2_CS_Pin */
  GPIO_InitStruct.Pin = USR_2_Pin|USR_3_Pin|USR_4_Pin|SPI2_SD_CS_Pin
                          |SPI2_DC_Pin|SPI2_RST_Pin|SPI2_CS_Pin;
  GPIO_InitStruct.Mode = GPIO_MODE_OUTPUT_PP;
  GPIO_InitStruct.Pull = GPIO_NOPULL;
  GPIO_InitStruct.Speed = GPIO_SPEED_FREQ_LOW;
  HAL_GPIO_Init(GPIOB, &GPIO_InitStruct);

  /*Configure GPIO pin : USR_1_Pin */
  GPIO_InitStruct.Pin = USR_1_Pin;
  GPIO_InitStruct.Mode = GPIO_MODE_OUTPUT_PP;
  GPIO_InitStruct.Pull = GPIO_NOPULL;
  GPIO_InitStruct.Speed = GPIO_SPEED_FREQ_LOW;
  HAL_GPIO_Init(USR_1_GPIO_Port, &GPIO_InitStruct);

  /*Configure GPIO pins : SW_1_Pin SW_3_Pin */
  GPIO_InitStruct.Pin = SW_1_Pin|SW_3_Pin;
  GPIO_InitStruct.Mode = GPIO_MODE_IT_RISING;
  GPIO_InitStruct.Pull = GPIO_NOPULL;
  HAL_GPIO_Init(GPIOB, &GPIO_InitStruct);

  /* EXTI interrupt init*/
  HAL_NVIC_SetPriority(EXTI9_5_IRQn, 0, 0);
  HAL_NVIC_EnableIRQ(EXTI9_5_IRQn);

}

/* USER CODE BEGIN 4 */

/* Used by the USB-storage mode (usb_mode.c). TIM1 has already been initialised
 * by MX_TIM1_Init() at that point; driving both outputs with zero duty puts the
 * power stage into the same "off" state as a normal boot does. */
void app_heater_hardware_off(void)
{
	heater_set_duty(0);
	HAL_TIMEx_PWMN_Start_IT(&htim1, TIM_CHANNEL_3);
}

/* USER CODE END 4 */

void Error_Handler(void)
{
  /* USER CODE BEGIN Error_Handler_Debug */
  /* User can add his own implementation to report the HAL error return state */

	// Stop the heater PWM and reconfigure as a GPIO and set to RESET
	heater_off();
	HAL_TIMEx_PWMN_Stop_IT(&htim1, TIM_CHANNEL_3);

	GPIO_InitTypeDef GPIO_InitStruct = {0};

	/*Configure GPIO pin : CURRENT_Pin */
	GPIO_InitStruct.Pin = HEATER_Pin;
	GPIO_InitStruct.Mode = GPIO_MODE_OUTPUT_PP;
	GPIO_InitStruct.Pull = GPIO_NOPULL;
	GPIO_InitStruct.Speed = GPIO_SPEED_FREQ_LOW;
	HAL_GPIO_Init(GPIOF, &GPIO_InitStruct);
	HAL_GPIO_WritePin(GPIOF, HEATER_Pin, GPIO_PIN_RESET);

	__disable_irq();
  while (1)
  {
  }
  /* USER CODE END Error_Handler_Debug */
}
